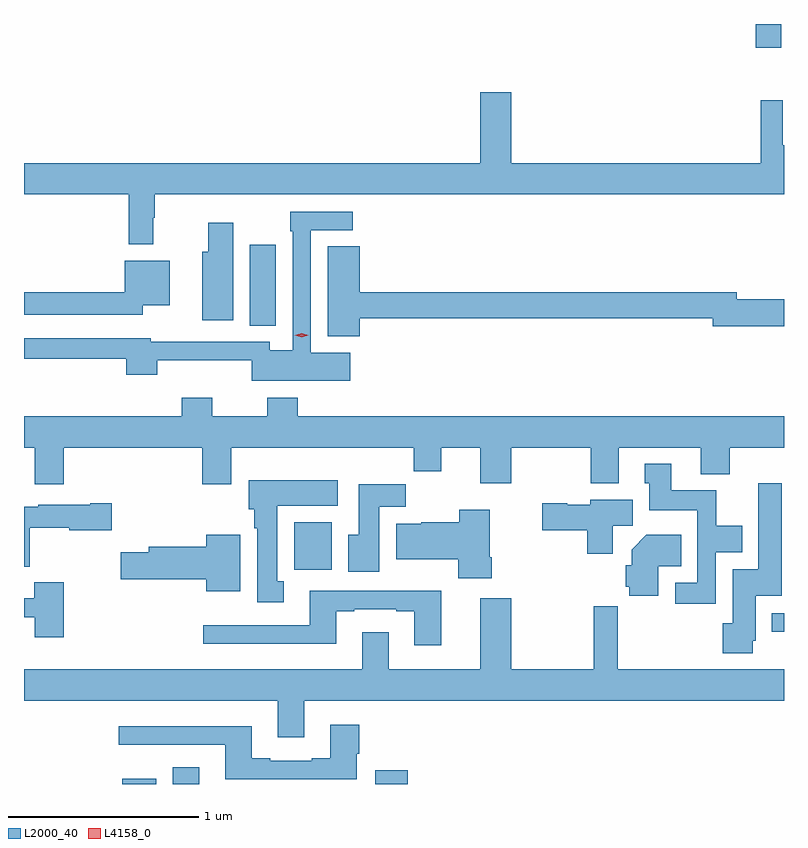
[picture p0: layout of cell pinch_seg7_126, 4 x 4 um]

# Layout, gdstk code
import gdstk
lib = gdstk.Library(unit=1e-6, precision=1e-09)
def R(c, l, rs):  # rectangles x0, y0, x1, y1
    for r in rs: c.add(gdstk.rectangle(r[:2], r[2:], *l))
def P(c, l, *ps):  # polygons
    for p in ps: c.add(gdstk.Polygon(p, *l))
L2000_40 = (2000, 40)
L4158_0 = (4158, 0)

pinch_seg7_126 = lib.new_cell('pinch_seg7_126')
R(pinch_seg7_126, L2000_40, [(978.308,1001.509,978.487,1001.536), (978.575,1001.509,978.715,1001.596), (979.64,1001.509,979.811,1001.581), (981.728,1002.311,981.792,1002.408), (979.215,1002.636,979.411,1002.886), (978.98,1003.921,979.117,1004.347), (981.644,1005.384,981.778,1005.509)])
P(pinch_seg7_126, L2000_40, [(978.472,1004.489),(978.479,1004.489),(978.479,1004.612),(981.792,1004.612),(981.792,1004.872),(981.786,1004.872),(981.786,1005.109),(981.67,1005.109),(981.67,1004.776),(980.356,1004.776),(980.356,1005.151),(980.192,1005.151),(980.192,1004.776),(977.792,1004.776),(977.792,1004.612),(978.343,1004.612),(978.343,1004.349),(978.472,1004.349)],
  [(979.51,1003.78),(979.302,1003.78),(979.302,1004.424),(979.522,1004.424),(979.522,1004.52),(979.194,1004.52),(979.194,1004.417),(979.206,1004.417),(979.206,1003.792),(979.086,1003.792),(979.086,1003.836),(978.459,1003.836),(978.459,1003.854),(977.792,1003.854),(977.792,1003.746),(978.329,1003.746),(978.329,1003.664),(978.494,1003.664),(978.494,1003.739),(978.99,1003.739),(978.99,1003.631),(979.51,1003.631)],
  [(978.892,1004.464),(978.763,1004.464),(978.763,1004.311),(978.731,1004.311),(978.731,1003.95),(978.892,1003.95)],
  [(979.558,1003.96),(981.416,1003.96),(981.416,1003.918),(981.792,1003.918),(981.792,1004.06),(981.544,1004.06),(981.544,1004.096),(979.558,1004.096),(979.558,1004.339),(979.391,1004.339),(979.391,1003.865),(979.558,1003.865)],
  [(978.417,1004.03),(978.559,1004.03),(978.559,1004.263),(978.321,1004.263),(978.321,1004.096),(977.792,1004.096),(977.792,1003.98),(978.417,1003.98)],
  [(978.002,1003.28),(978.731,1003.28),(978.731,1003.086),(978.883,1003.086),(978.883,1003.28),(979.843,1003.28),(979.843,1003.156),(979.987,1003.156),(979.987,1003.28),(980.192,1003.28),(980.192,1003.092),(980.356,1003.092),(980.356,1003.28),(980.776,1003.28),(980.776,1003.091),(980.923,1003.091),(980.923,1003.28),(981.353,1003.28),(981.353,1003.139),(981.506,1003.139),(981.506,1003.28),(981.792,1003.28),(981.792,1003.444),(979.232,1003.444),(979.232,1003.543),(979.072,1003.543),(979.072,1003.444),(978.783,1003.444),(978.783,1003.543),(978.623,1003.543),(978.623,1003.444),(977.792,1003.444),(977.792,1003.28),(977.849,1003.28),(977.849,1003.086),(978.002,1003.086)],
  [(981.432,1002.728),(981.571,1002.728),(981.571,1002.868),(981.435,1002.868),(981.435,1003.054),(981.199,1003.054),(981.199,1003.195),(981.059,1003.195),(981.059,1003.092),(981.083,1003.092),(981.083,1002.95),(981.336,1002.95),(981.336,1002.567),(981.219,1002.567),(981.219,1002.459),(981.432,1002.459)],
  [(979.159,1002.577),(979.126,1002.577),(979.126,1002.974),(979.444,1002.974),(979.444,1003.108),(978.974,1003.108),(978.974,1002.954),(979.004,1002.954),(979.004,1002.854),(979.019,1002.854),(979.019,1002.465),(979.159,1002.465)],
  [(981.627,1002.264),(981.643,1002.264),(981.643,1002.501),(981.781,1002.501),(981.781,1003.093),(981.656,1003.093),(981.656,1002.64),(981.521,1002.64),(981.521,1002.354),(981.47,1002.354),(981.47,1002.198),(981.627,1002.198)],
  [(979.663,1002.968),(979.802,1002.968),(979.802,1003.087),(979.553,1003.087),(979.553,1002.82),(979.499,1002.82),(979.499,1002.627),(979.663,1002.627)],
  [(980.89,1002.868),(980.995,1002.868),(980.995,1003.006),(980.772,1003.006),(980.772,1002.979),(980.652,1002.979),(980.652,1002.987),(980.52,1002.987),(980.52,1002.845),(980.756,1002.845),(980.756,1002.72),(980.89,1002.72)],
  [(977.822,1002.857),(978.03,1002.857),(978.03,1002.845),(978.253,1002.845),(978.253,1002.987),(978.14,1002.987),(978.14,1002.979),(977.868,1002.979),(977.868,1002.967),(977.792,1002.967),(977.792,1002.653),(977.822,1002.653)],
  [(980.255,1002.703),(980.242,1002.703),(980.242,1002.952),(980.084,1002.952),(980.084,1002.886),(979.884,1002.886),(979.884,1002.88),(979.751,1002.88),(979.751,1002.692),(980.077,1002.692),(980.077,1002.591),(980.255,1002.591)],
  [(981.13,1002.656),(981.251,1002.656),(981.251,1002.82),(981.068,1002.82),(980.99,1002.742),(980.99,1002.66),(980.96,1002.66),(980.96,1002.546),(980.978,1002.546),(980.978,1002.499),(981.13,1002.499)],
  [(978.931,1002.82),(978.752,1002.82),(978.752,1002.758),(978.449,1002.758),(978.449,1002.728),(978.3,1002.728),(978.3,1002.586),(978.752,1002.586),(978.752,1002.524),(978.931,1002.524)],
  [(978.002,1002.571),(977.847,1002.571),(977.847,1002.487),(977.792,1002.487),(977.792,1002.387),(977.849,1002.387),(977.849,1002.282),(978.002,1002.282)],
  [(979.987,1002.526),(979.755,1002.526),(979.755,1002.525),(979.295,1002.525),(979.295,1002.345),(978.735,1002.345),(978.735,1002.248),(979.435,1002.248),(979.435,1002.417),(979.531,1002.417),(979.531,1002.429),(979.751,1002.429),(979.751,1002.417),(979.847,1002.417),(979.847,1002.24),(979.987,1002.24)],
  [(979.267,1001.948),(981.792,1001.948),(981.792,1002.112),(980.918,1002.112),(980.918,1002.445),(980.79,1002.445),(980.79,1002.112),(980.356,1002.112),(980.356,1002.487),(980.192,1002.487),(980.192,1002.112),(979.711,1002.112),(979.711,1002.307),(979.571,1002.307),(979.571,1002.112),(977.792,1002.112),(977.792,1001.948),(979.127,1001.948),(979.127,1001.754),(979.267,1001.754)],
  [(979.543,1001.668),(979.556,1001.668),(979.556,1001.821),(979.403,1001.821),(979.403,1001.644),(979.307,1001.644),(979.307,1001.631),(979.087,1001.631),(979.087,1001.644),(978.991,1001.644),(978.991,1001.812),(978.291,1001.812),(978.291,1001.715),(978.851,1001.715),(978.851,1001.534),(979.543,1001.534)])
P(pinch_seg7_126, L4158_0, [(979.253,1003.861),(979.218,1003.872),(979.218,1003.872),(979.218,1003.872),(979.253,1003.881),(979.288,1003.871),(979.288,1003.871),(979.288,1003.87)])

lib.write_gds('pinch_seg7_126.gds')
